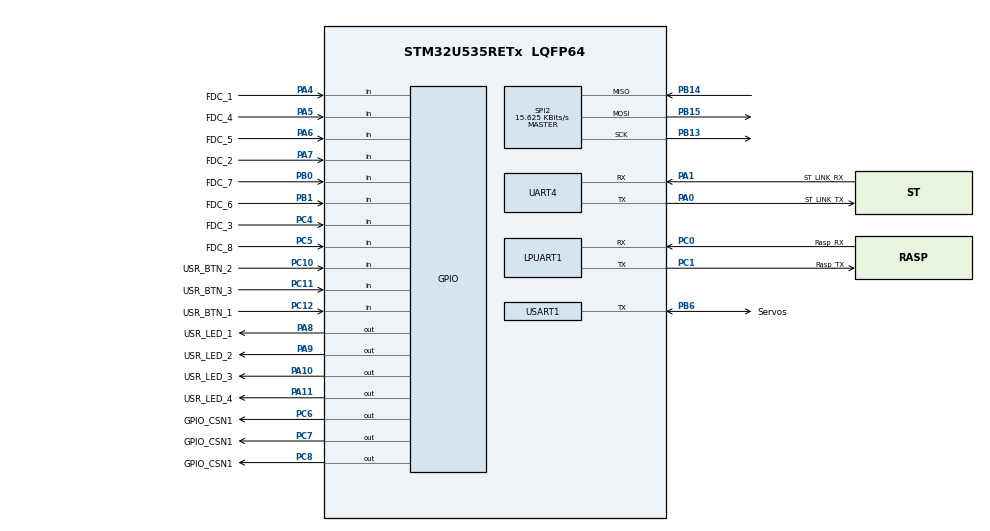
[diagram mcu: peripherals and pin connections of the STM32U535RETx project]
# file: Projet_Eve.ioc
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CORTEX_M33_NS.userName=CORTEX_M33
Mcu.Family=STM32U5
Mcu.Name=STM32U535RETx
Mcu.Package=LQFP64
NVIC.PriorityGroup=NVIC_PRIORITYGROUP_4
PA0.GPIO_Label=ST_LINK_TX
PA0.Mode=Asynchronous
PA0.Signal=UART4_TX
PA1.GPIO_Label=ST_LINK_RX
PA1.Mode=Asynchronous
PA1.Signal=UART4_RX
PA10.GPIO_Label=USR_LED_3
PA10.Signal=GPIO_Output
PA11.GPIO_Label=USR_LED_4
PA11.Signal=GPIO_Output
PA13\ (JTMS/SWDIO).Signal=DEBUG_JTMS-SWDIO
PA14\ (JTCK/SWCLK).Signal=DEBUG_JTCK-SWCLK
PA4.GPIO_Label=FDC_1
PA4.Signal=GPIO_Input
PA5.GPIO_Label=FDC_4
PA5.Signal=GPIO_Input
PA6.GPIO_Label=FDC_5
PA6.Signal=GPIO_Input
PA7.GPIO_Label=FDC_2
PA7.Signal=GPIO_Input
PA8.GPIO_Label=USR_LED_1
PA8.Signal=GPIO_Output
PA9.GPIO_Label=USR_LED_2
PA9.Signal=GPIO_Output
PB0.GPIO_Label=FDC_7
PB0.Signal=GPIO_Input
PB1.GPIO_Label=FDC_6
PB1.Signal=GPIO_Input
PB13.Mode=Full_Duplex_Master
PB13.Signal=SPI2_SCK
PB14.Mode=Full_Duplex_Master
PB14.Signal=SPI2_MISO
PB15.Mode=Full_Duplex_Master
PB15.Signal=SPI2_MOSI
PB3\ (JTDO/TRACESWO).Signal=DEBUG_JTDO-SWO
PB6.GPIO_Label=Servos
PB6.GPIO_ModeDefaultOD=GPIO_MODE_AF_PP
PB6.GPIO_PuPd=GPIO_PULLUP
PB6.GPIO_Speed=GPIO_SPEED_FREQ_LOW
PB6.Mode=Half_duplex(single_wire_mode)
PB6.Signal=USART1_TX
PC0.GPIO_Label=Rasp_RX
PC0.Mode=Asynchronous
PC0.Signal=LPUART1_RX
PC1.GPIO_Label=Rasp_TX
PC1.Mode=Asynchronous
PC1.Signal=LPUART1_TX
PC10.GPIO_Label=USR_BTN_2
PC10.Signal=GPIO_Input
PC11.GPIO_Label=USR_BTN_3
PC11.Signal=GPIO_Input
PC12.GPIO_Label=USR_BTN_1
PC12.Signal=GPIO_Input
PC4.GPIO_Label=FDC_3
PC4.Signal=GPIO_Input
PC5.GPIO_Label=FDC_8
PC5.Signal=GPIO_Input
PC6.GPIO_Label=GPIO_CSN1
PC6.Signal=GPIO_Output
PC7.GPIO_Label=GPIO_CSN1
PC7.Signal=GPIO_Output
PC8.GPIO_Label=GPIO_CSN1
PC8.Signal=GPIO_Output
PH0-OSC_IN\ (PH0).Mode=HSE-External-Oscillator
PH0-OSC_IN\ (PH0).Signal=RCC_OSC_IN
PH1-OSC_OUT\ (PH1).Mode=HSE-External-Oscillator
PH1-OSC_OUT\ (PH1).Signal=RCC_OSC_OUT
ProjectManager.HeapSize=0x200
ProjectManager.StackSize=0x400
ProjectManager.TargetToolchain=STM32CubeIDE
RCC.ADCFreq_Value=16000000
RCC.DACCLockSelectionVirtual=RCC_DAC1CLKSOURCE_LSI
RCC.DACCLockSelectionVirtualString=RCC_DAC1CLKSOURCE_LSI
RCC.EPOD_VALUE=4000000
RCC.HSE_VALUE=16000000
RCC.HSI48_VALUE=48000000
RCC.HSI_VALUE=16000000
RCC.LSE_VALUE=32768
RCC.LSIDIV_VALUE=32000
RCC.MSI_VALUE=4000000
RCC.USBFreq_Value=48000000
RCC.VCOOutputFreq_Value=516000000
SPI2.BaudRatePrescaler=SPI_BAUDRATEPRESCALER_256
SPI2.CalculateBaudRate=15.625 KBits/s
SPI2.DataSize=SPI_DATASIZE_8BIT
SPI2.Direction=SPI_DIRECTION_2LINES
SPI2.Mode=SPI_MODE_MASTER
SPI2.VirtualType=VM_MASTER
USART1.BaudRate=57600
USART1.VirtualMode-Half_duplex(single_wire_mode)=VM_ASYNC
VP_ICACHE_VS_ICACHE.Mode=DirectMappedCache
VP_LPBAMQUEUE_VS_QUEUE.Mode=QUEUEMODE
VP_LPBAM_VS_SIG1.Mode=SmartRun
VP_LPBAM_VS_SIG4.Mode=LPDMA1
VP_MEMORYMAP_VS_MEMORYMAP.Mode=CurAppReg
VP_PWR_VS_SECSignals.Mode=Security/Privilege
board=custom

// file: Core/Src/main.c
/* USER CODE BEGIN Header */
/**
  ******************************************************************************
  * @file           : main.c
  * @brief          : Main program body
  ******************************************************************************
  * @attention
  *
  * Copyright (c) 2024 STMicroelectronics.
  * All rights reserved.
  *
  * This software is licensed under terms that can be found in the LICENSE file
  * in the root directory of this software component.
  * If no LICENSE file comes with this software, it is provided AS-IS.
  *
  ******************************************************************************
  */
/* USER CODE END Header */
#include "main.h"
#include "icache.h"
#include "usart.h"
#include "memorymap.h"
#include "spi.h"
#include "gpio.h"

/* USER CODE BEGIN Includes */
#include <stdio.h>
#include <string.h>
#include <stdint.h>
#include "stm32U5xx.h"
#include "dyn2.h"
#include "constants.h"

/* USER CODE END Includes */

void SystemClock_Config(void);

int main(void)
{

  /* MCU Configuration--------------------------------------------------------*/

  /* Reset of all peripherals, Initializes the Flash interface and the Systick. */
  HAL_Init();

  /* Configure the system clock */
  SystemClock_Config();

  /* Initialize all configured peripherals */
  MX_GPIO_Init();
  MX_USART1_UART_Init();
  MX_ICACHE_Init();
  MX_LPUART1_UART_Init();
  MX_UART4_Init();
  MX_SPI2_Init();
  /* USER CODE BEGIN 2 */

  MOTOR XL430_1 = {
       .model = XL430,
       .baudrate = 57600,
       .uart = huart1, // Assuming huart4 is already defined elsewhere
       .id = 0xFE
   };
  MOTOR XL320_1 = {
       .model = XL320,
       .baudrate = 57600,
       .uart = huart1, // Assuming huart4 is already defined elsewhere
       .id = 0xFE
   };

  //dyn2_led(XL320_1,2);
  float angle = 0;
//  for( int i = 0;i<=5;i++){
//	  dyn2_position(XL320_1,angle);
//	  HAL_Delay(3000);
//	  angle += 45;
//  }
  /* USER CODE END 2 */

  /* Infinite loop */
  /* USER CODE BEGIN WHILE */
  while (1)
  {

	  //dyn2_position(XL430_1,180);
	  //dyn2_led(XL430_1, 1);
	 // dyn2_led(XL430_1, 2);

	  //dyn2_position(XL430_1, 90);
	  //dyn2_position(XL430_1, 90);

	  //HAL_Delay(2000);
	  dyn2_reboot();

	  //dyn2_led(XL430_1, 0);
	  //dyn2_led(XL430_1,0);

	  //dyn2_position(XL430_1, 0);
	  //dyn2_position(XL430_1, 0);

	  //HAL_Delay(2000);

    /* USER CODE END WHILE */

  }
}

void SystemClock_Config(void)
{
  RCC_OscInitTypeDef RCC_OscInitStruct = {0};
  RCC_ClkInitTypeDef RCC_ClkInitStruct = {0};

  /** Configure the main internal regulator output voltage
  */
  if (HAL_PWREx_ControlVoltageScaling(PWR_REGULATOR_VOLTAGE_SCALE4) != HAL_OK)
  {
    Error_Handler();
  }

  /** Initializes the CPU, AHB and APB buses clocks
  */
  RCC_OscInitStruct.OscillatorType = RCC_OSCILLATORTYPE_MSI;
  RCC_OscInitStruct.MSIState = RCC_MSI_ON;
  RCC_OscInitStruct.MSICalibrationValue = RCC_MSICALIBRATION_DEFAULT;
  RCC_OscInitStruct.MSIClockRange = RCC_MSIRANGE_4;
  RCC_OscInitStruct.PLL.PLLState = RCC_PLL_NONE;
  if (HAL_RCC_OscConfig(&RCC_OscInitStruct) != HAL_OK)
  {
    Error_Handler();
  }

  /** Initializes the CPU, AHB and APB buses clocks
  */
  RCC_ClkInitStruct.ClockType = RCC_CLOCKTYPE_HCLK|RCC_CLOCKTYPE_SYSCLK
                              |RCC_CLOCKTYPE_PCLK1|RCC_CLOCKTYPE_PCLK2
                              |RCC_CLOCKTYPE_PCLK3;
  RCC_ClkInitStruct.SYSCLKSource = RCC_SYSCLKSOURCE_MSI;
  RCC_ClkInitStruct.AHBCLKDivider = RCC_SYSCLK_DIV1;
  RCC_ClkInitStruct.APB1CLKDivider = RCC_HCLK_DIV1;
  RCC_ClkInitStruct.APB2CLKDivider = RCC_HCLK_DIV1;
  RCC_ClkInitStruct.APB3CLKDivider = RCC_HCLK_DIV1;

  if (HAL_RCC_ClockConfig(&RCC_ClkInitStruct, FLASH_LATENCY_0) != HAL_OK)
  {
    Error_Handler();
  }
}

void Error_Handler(void)
{
  __disable_irq();
  while (1)
  {
  }
}
